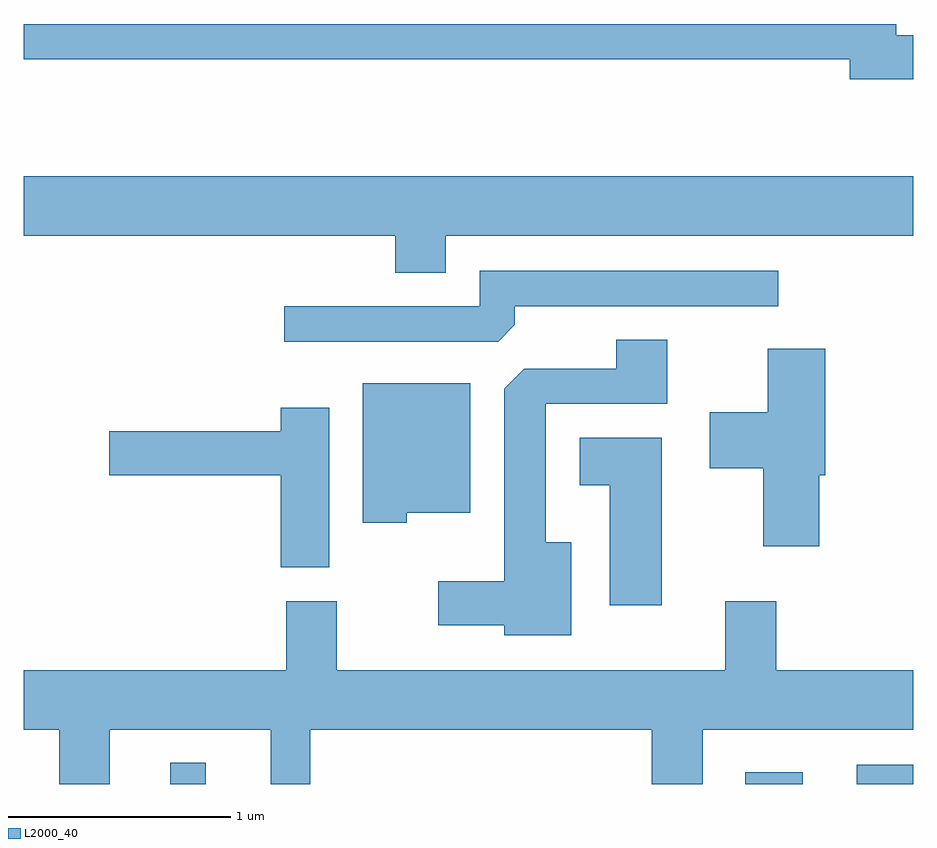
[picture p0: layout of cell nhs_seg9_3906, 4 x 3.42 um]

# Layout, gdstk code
import gdstk
lib = gdstk.Library(unit=1e-6, precision=1e-09)
def R(c, l, rs):  # rectangles x0, y0, x1, y1
    for r in rs: c.add(gdstk.rectangle(r[:2], r[2:], *l))
def P(c, l, *ps):  # polygons
    for p in ps: c.add(gdstk.Polygon(p, *l))
L2000_40 = (2000, 40)

nhs_seg9_3906 = lib.new_cell('nhs_seg9_3906')
R(nhs_seg9_3906, L2000_40, [(300.271,2020.432,300.429,2020.528), (302.856,2020.432,303.114,2020.484), (303.356,2020.432,303.611,2020.519)])
P(nhs_seg9_3906, L2000_40, [(303.611,2023.799),(303.534,2023.799),(303.534,2023.849),(299.611,2023.849),(299.611,2023.691),(303.326,2023.691),(303.326,2023.601),(303.611,2023.601)],
  [(301.509,2022.896),(303.611,2022.896),(303.611,2023.164),(299.611,2023.164),(299.611,2022.896),(301.281,2022.896),(301.281,2022.731),(301.509,2022.731)],
  [(301.819,2022.497),(301.819,2022.581),(303.003,2022.581),(303.003,2022.739),(301.661,2022.739),(301.661,2022.579),(300.783,2022.579),(300.783,2022.421),(301.744,2022.421)],
  [(302.074,2021.519),(301.959,2021.519),(301.959,2022.141),(302.504,2022.141),(302.504,2022.429),(302.276,2022.429),(302.276,2022.299),(301.862,2022.299),(301.771,2022.209),(301.771,2021.344),(301.476,2021.344),(301.476,2021.146),(301.771,2021.146),(301.771,2021.101),(302.074,2021.101)],
  [(303.189,2021.821),(303.214,2021.821),(303.214,2022.389),(302.956,2022.389),(302.956,2022.104),(302.696,2022.104),(302.696,2021.851),(302.936,2021.851),(302.936,2021.501),(303.189,2021.501)],
  [(301.334,2021.651),(301.619,2021.651),(301.619,2022.234),(301.136,2022.234),(301.136,2021.606),(301.334,2021.606)],
  [(300.984,2022.124),(300.766,2022.124),(300.766,2022.019),(299.996,2022.019),(299.996,2021.821),(300.766,2021.821),(300.766,2021.406),(300.984,2021.406)],
  [(302.479,2021.989),(302.111,2021.989),(302.111,2021.776),(302.246,2021.776),(302.246,2021.236),(302.479,2021.236)],
  [(299.999,2020.676),(300.721,2020.676),(300.721,2020.432),(300.899,2020.432),(300.899,2020.676),(302.436,2020.676),(302.436,2020.432),(302.664,2020.432),(302.664,2020.676),(303.611,2020.676),(303.611,2020.944),(302.994,2020.944),(302.994,2021.254),(302.766,2021.254),(302.766,2020.944),(301.019,2020.944),(301.019,2021.254),(300.791,2021.254),(300.791,2020.944),(299.611,2020.944),(299.611,2020.676),(299.771,2020.676),(299.771,2020.432),(299.999,2020.432)])

lib.write_gds('nhs_seg9_3906.gds')
